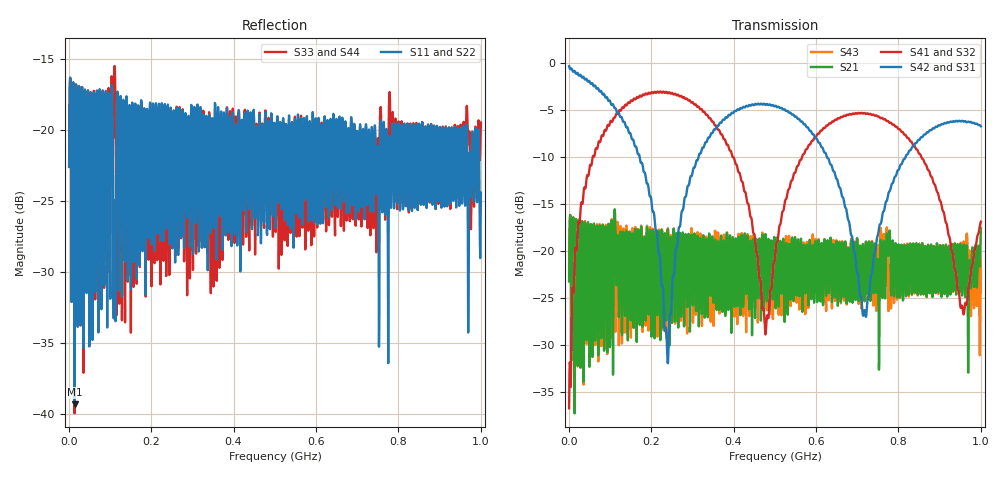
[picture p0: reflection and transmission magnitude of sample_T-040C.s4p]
! synthetic lab measurement T=-40C
! synthetic measurement, noise -85.0 dB
# Hz S RI R 50
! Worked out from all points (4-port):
!   1201 points, 1 MHz to 1 GHz, reference 50 ohm
!   strongest paths, dB at 1 MHz, 250.8 MHz, 500.5 MHz, 750.2 MHz, 1 GHz:
!     S42: -0.3, -24.1, -4.6, -18.3, -6.7
!     S31: -0.3, -24.1, -4.6, -18.3, -6.7
!     S41: -36.7, -3.2, -20.7, -5.7, -16.9
!     S32: -36.7, -3.2, -20.7, -5.7, -16.9
!     S21: -23.2, -27.6, -20.6, -21.2, -17.6
!     S43: -23.2, -27.7, -20.8, -19.4, -20.8
!   lowest |S11| = -39.3 dB at 14.32 MHz (marker M1), VSWR 1.02, Z = 51 - j0.347 ohm
!   |S11| at or under -10 dB: start of sweep to end of sweep
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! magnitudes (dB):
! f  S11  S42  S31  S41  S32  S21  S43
! 1 MHz  -22.6  -0.3  -0.3  -36.7  -36.7  -23.2  -23.2
! 14.32 MHz  -39.3  -0.8  -0.8  -21.3  -21.3  -37.3  -37.3
! 238.3 MHz  -21.8  -30.0  -30.0  -3.1  -3.1  -21.2  -21.4
! 313.2 MHz  -18.9  -10.3  -10.3  -4.7  -4.7  -19.0  -18.7
! 479.7 MHz  -23.3  -4.4  -4.4  -27.6  -27.6  -22.1  -22.4
! 717.8 MHz  -26.3  -26.3  -26.3  -5.3  -5.3  -25.4  -25.3
! 1 GHz  -24.4  -6.7  -6.7  -16.9  -16.9  -17.6  -20.8
